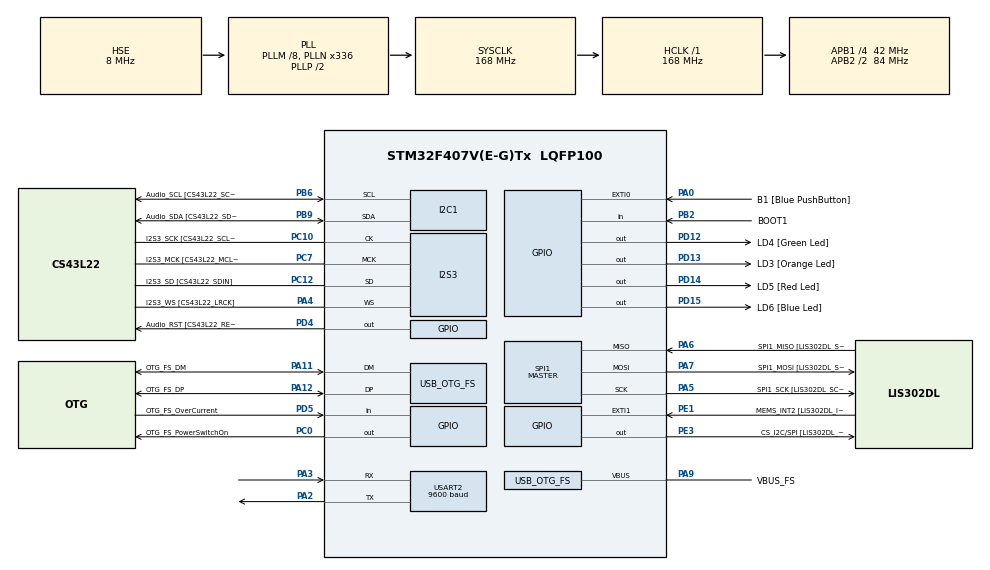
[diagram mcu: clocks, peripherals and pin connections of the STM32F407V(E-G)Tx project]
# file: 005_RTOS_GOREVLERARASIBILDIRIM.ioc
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FREERTOS.Tasks01=defaultTask,0,128,StartDefaultTask,Default,NULL,Dynamic,NULL,NULL
I2S3.AudioFreq-Half_Duplex_Master=I2S_AUDIOFREQ_96K
I2S3.ErrorAudioFreq=-2.34 %
I2S3.ErrorAudioFreq-Half_Duplex_Master=0.8 %
I2S3.FullDuplexMode=I2S_FULLDUPLEXMODE_DISABLE
I2S3.Instance=SPI$Index
I2S3.RealAudioFreq=93.75 KHz
I2S3.RealAudioFreq-Half_Duplex_Master=96.774 KHz
I2S3.VirtualMode=I2S_MODE_MASTER
Mcu.Family=STM32F4
Mcu.Name=STM32F407V(E-G)Tx
Mcu.Package=LQFP100
NVIC.OTG_FS_IRQn=true\:5\:0\:false\:false\:true\:true\:true\:true\:true
NVIC.PriorityGroup=NVIC_PRIORITYGROUP_4
PA0-WKUP.GPIO_Label=B1 [Blue PushButton]
PA0-WKUP.GPIO_ModeDefaultEXTI=GPIO_MODE_EVT_RISING
PA0-WKUP.GPIO_PuPd=GPIO_NOPULL
PA0-WKUP.Signal=GPXTI0
PA10.GPIO_Label=OTG_FS_ID
PA10.GPIO_Mode=GPIO_MODE_AF_PP
PA10.GPIO_PuPd=GPIO_NOPULL
PA10.GPIO_Speed=GPIO_SPEED_FREQ_LOW
PA10.Signal=USB_OTG_FS_ID
PA11.GPIO_Label=OTG_FS_DM
PA11.GPIO_Mode=GPIO_MODE_AF_PP
PA11.GPIO_PuPd=GPIO_NOPULL
PA11.GPIO_Speed=GPIO_SPEED_FREQ_LOW
PA11.Mode=Host_Only
PA11.Signal=USB_OTG_FS_DM
PA12.GPIO_Label=OTG_FS_DP
PA12.GPIO_Mode=GPIO_MODE_AF_PP
PA12.GPIO_PuPd=GPIO_NOPULL
PA12.GPIO_Speed=GPIO_SPEED_FREQ_LOW
PA12.Mode=Host_Only
PA12.Signal=USB_OTG_FS_DP
PA13.GPIO_Label=SWDIO
PA13.Mode=Serial_Wire
PA13.Signal=SYS_JTMS-SWDIO
PA14.GPIO_Label=SWCLK
PA14.Mode=Serial_Wire
PA14.Signal=SYS_JTCK-SWCLK
PA2.Mode=Asynchronous
PA2.Signal=USART2_TX
PA3.Mode=Asynchronous
PA3.Signal=USART2_RX
PA4.GPIO_Label=I2S3_WS [CS43L22_LRCK]
PA4.GPIO_Mode=GPIO_MODE_AF_PP
PA4.GPIO_PuPd=GPIO_NOPULL
PA4.GPIO_Speed=GPIO_SPEED_FREQ_LOW
PA4.Mode=Half_Duplex_Master
PA4.Signal=I2S3_WS
PA5.GPIO_Label=SPI1_SCK [LIS302DL_SCL/SPC]
PA5.GPIO_Mode=GPIO_MODE_AF_PP
PA5.GPIO_PuPd=GPIO_NOPULL
PA5.GPIO_Speed=GPIO_SPEED_FREQ_LOW
PA5.Mode=Full_Duplex_Master
PA5.Signal=SPI1_SCK
PA6.GPIO_Label=SPI1_MISO [LIS302DL_SDO]
PA6.GPIO_Mode=GPIO_MODE_AF_PP
PA6.GPIO_PuPd=GPIO_NOPULL
PA6.GPIO_Speed=GPIO_SPEED_FREQ_LOW
PA6.Mode=Full_Duplex_Master
PA6.Signal=SPI1_MISO
PA7.GPIO_Label=SPI1_MOSI [LIS302DL_SDA/SDI/SDO]
PA7.GPIO_Mode=GPIO_MODE_AF_PP
PA7.GPIO_PuPd=GPIO_NOPULL
PA7.GPIO_Speed=GPIO_SPEED_FREQ_LOW
PA7.Mode=Full_Duplex_Master
PA7.Signal=SPI1_MOSI
PA9.GPIO_Label=VBUS_FS
PA9.GPIO_Mode=GPIO_MODE_INPUT
PA9.GPIO_PuPd=GPIO_NOPULL
PA9.Mode=Activate_VBUS
PA9.Signal=USB_OTG_FS_VBUS
PB10.GPIO_Label=CLK_IN [MP45DT02_CLK]
PB10.GPIO_Mode=GPIO_MODE_AF_PP
PB10.GPIO_PuPd=GPIO_NOPULL
PB10.GPIO_Speed=GPIO_SPEED_FREQ_LOW
PB10.Signal=I2S2_CK
PB2.GPIO_Label=BOOT1
PB2.GPIO_Mode=GPIO_MODE_INPUT
PB2.GPIO_PuPd=GPIO_NOPULL
PB2.Signal=GPIO_Input
PB3.GPIO_Label=SWO
PB3.Signal=SYS_JTDO-SWO
PB6.GPIO_Label=Audio_SCL [CS43L22_SCL]
PB6.GPIO_Mode=GPIO_MODE_AF_OD
PB6.GPIO_Pu=GPIO_PULLUP
PB6.GPIO_PuPd=GPIO_NOPULL
PB6.GPIO_Speed=GPIO_SPEED_FREQ_LOW
PB6.Mode=I2C
PB6.Signal=I2C1_SCL
PB9.GPIO_Label=Audio_SDA [CS43L22_SDA]
PB9.GPIO_Mode=GPIO_MODE_AF_OD
PB9.GPIO_Pu=GPIO_PULLUP
PB9.GPIO_PuPd=GPIO_NOPULL
PB9.GPIO_Speed=GPIO_SPEED_FREQ_LOW
PB9.Mode=I2C
PB9.Signal=I2C1_SDA
PC0.GPIO_Label=OTG_FS_PowerSwitchOn
PC0.GPIO_PuPd=GPIO_NOPULL
PC0.GPIO_Speed=GPIO_SPEED_FREQ_LOW
PC0.PinState=GPIO_PIN_SET
PC0.Signal=GPIO_Output
PC10.GPIO_Label=I2S3_SCK [CS43L22_SCLK]
PC10.GPIO_Mode=GPIO_MODE_AF_PP
PC10.GPIO_PuPd=GPIO_NOPULL
PC10.GPIO_Speed=GPIO_SPEED_FREQ_LOW
PC10.Mode=Half_Duplex_Master
PC10.Signal=I2S3_CK
PC12.GPIO_Label=I2S3_SD [CS43L22_SDIN]
PC12.GPIO_Mode=GPIO_MODE_AF_PP
PC12.GPIO_PuPd=GPIO_NOPULL
PC12.GPIO_Speed=GPIO_SPEED_FREQ_LOW
PC12.Mode=Half_Duplex_Master
PC12.Signal=I2S3_SD
PC14-OSC32_IN.GPIO_Label=PC14-OSC32_IN
PC14-OSC32_IN.Mode=LSE-External-Oscillator
PC14-OSC32_IN.Signal=RCC_OSC32_IN
PC15-OSC32_OUT.GPIO_Label=PC15-OSC32_OUT
PC15-OSC32_OUT.Mode=LSE-External-Oscillator
PC15-OSC32_OUT.Signal=RCC_OSC32_OUT
PC3.GPIO_Label=PDM_OUT [MP45DT02_DOUT]
PC3.GPIO_Mode=GPIO_MODE_AF_PP
PC3.GPIO_PuPd=GPIO_NOPULL
PC3.GPIO_Speed=GPIO_SPEED_FREQ_LOW
PC3.Signal=I2S2_SD
PC7.GPIO_Label=I2S3_MCK [CS43L22_MCLK]
PC7.GPIO_Mode=GPIO_MODE_AF_PP
PC7.GPIO_PuPd=GPIO_NOPULL
PC7.GPIO_Speed=GPIO_SPEED_FREQ_LOW
PC7.Mode=Master_Clock_Activated
PC7.Signal=I2S3_MCK
PD12.GPIO_Label=LD4 [Green Led]
PD12.GPIO_PuPd=GPIO_NOPULL
PD12.GPIO_Speed=GPIO_SPEED_FREQ_LOW
PD12.Signal=GPIO_Output
PD13.GPIO_Label=LD3 [Orange Led]
PD13.GPIO_PuPd=GPIO_NOPULL
PD13.GPIO_Speed=GPIO_SPEED_FREQ_LOW
PD13.Signal=GPIO_Output
PD14.GPIO_Label=LD5 [Red Led]
PD14.GPIO_PuPd=GPIO_NOPULL
PD14.GPIO_Speed=GPIO_SPEED_FREQ_LOW
PD14.Signal=GPIO_Output
PD15.GPIO_Label=LD6 [Blue Led]
PD15.GPIO_PuPd=GPIO_NOPULL
PD15.GPIO_Speed=GPIO_SPEED_FREQ_LOW
PD15.Signal=GPIO_Output
PD4.GPIO_Label=Audio_RST [CS43L22_RESET]
PD4.GPIO_PuPd=GPIO_NOPULL
PD4.GPIO_Speed=GPIO_SPEED_FREQ_LOW
PD4.Signal=GPIO_Output
PD5.GPIO_Label=OTG_FS_OverCurrent
PD5.GPIO_Mode=GPIO_MODE_INPUT
PD5.GPIO_PuPd=GPIO_NOPULL
PD5.Signal=GPIO_Input
PE1.GPIO_Label=MEMS_INT2 [LIS302DL_INT2]
PE1.GPIO_ModeDefaultEXTI=GPIO_MODE_EVT_RISING
PE1.GPIO_PuPd=GPIO_NOPULL
PE1.Signal=GPXTI1
PE3.GPIO_Label=CS_I2C/SPI [LIS302DL_CS_I2C/SPI]
PE3.GPIO_PuPd=GPIO_NOPULL
PE3.GPIO_Speed=GPIO_SPEED_FREQ_LOW
PE3.Signal=GPIO_Output
PH0-OSC_IN.GPIO_Label=PH0-OSC_IN
PH0-OSC_IN.Mode=HSE-External-Oscillator
PH0-OSC_IN.Signal=RCC_OSC_IN
PH1-OSC_OUT.GPIO_Label=PH1-OSC_OUT
PH1-OSC_OUT.Mode=HSE-External-Oscillator
PH1-OSC_OUT.Signal=RCC_OSC_OUT
ProjectManager.HeapSize=0x200
ProjectManager.StackSize=0x400
ProjectManager.TargetToolchain=STM32CubeIDE
RCC.48MHZClocksFreq_Value=48000000
RCC.AHBFreq_Value=168000000
RCC.APB1CLKDivider=RCC_HCLK_DIV4
RCC.APB1Freq_Value=42000000
RCC.APB1TimFreq_Value=84000000
RCC.APB2CLKDivider=RCC_HCLK_DIV2
RCC.APB2Freq_Value=84000000
RCC.APB2TimFreq_Value=168000000
RCC.CortexFreq_Value=168000000
RCC.HCLKFreq_Value=168000000
RCC.HSE_VALUE=8000000
RCC.HSI_VALUE=16000000
RCC.PLLM=8
RCC.PLLN=336
RCC.PLLQ=7
RCC.SYSCLKFreq_VALUE=168000000
RCC.SYSCLKSource=RCC_SYSCLKSOURCE_PLLCLK
RCC.VCOOutputFreq_Value=336000000
SPI1.BaudRatePrescaler-Full_Duplex_Master=SPI_BAUDRATEPRESCALER_2
SPI1.CalculateBaudRate-Full_Duplex_Master=42.0 MBits/s
SPI1.Direction=SPI_DIRECTION_2LINES
SPI1.Mode=SPI_MODE_MASTER
SPI1.Mode-Full_Duplex_Master=SPI_MODE_MASTER
SPI1.VirtualType=VM_MASTER
USART2.BaudRate=9600
USART2.VirtualMode=VM_ASYNC
USB_HOST.BSP.number=1
USB_HOST.USBH_HandleTypeDef-CDC_FS=hUsbHostFS
USB_HOST.USBH_USE_OS-CDC_FS=0
USB_HOST.VirtualModeFS=Cdc
USB_HOST0.BSP.STBoard=false
USB_HOST0.BSP.api=Unknown
USB_HOST0.BSP.i2caddr=0
USB_HOST0.BSP.i2creg=0
USB_HOST0.BSP.instance=PC0
USB_HOST0.BSP.ip=GPIO
USB_HOST0.BSP.mode=Output
USB_HOST0.BSP.name=Drive_VBUS_FS
USB_HOST0.BSP.solution=PC0
USB_OTG_FS.VirtualMode=Host_Only
USB_OTG_FS.phy_itface=HCD_PHY_EMBEDDED
VP_FREERTOS_VS_CMSIS_V1.Mode=CMSIS_V1
VP_USB_HOST_VS_USB_HOST_CDC_FS.Mode=CDC_FS
board=STM32F407G-DISC1

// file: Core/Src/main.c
/* USER CODE BEGIN Header */
/**
 ******************************************************************************
 * @file           : main.c
 * @brief          : Main program body
 ******************************************************************************
 * @attention
 *
 * Copyright (c) 2022 STMicroelectronics.
 * All rights reserved.
 *
 * This software is licensed under terms that can be found in the LICENSE file
 * in the root directory of this software component.
 * If no LICENSE file comes with this software, it is provided AS-IS.
 *
 ******************************************************************************
 */
/* USER CODE END Header */
#include "main.h"
#include "cmsis_os.h"
#include "usb_host.h"

/* USER CODE BEGIN Includes */

#include "stdio.h"

/* USER CODE END Includes */

/* USER CODE BEGIN PTD */
typedef enum
{
	false, true
}bool;

bool task_flag1 = true;
bool task_flag2 = false;

/* USER CODE END PTD */

 I2C_HandleTypeDef hi2c1;

I2S_HandleTypeDef hi2s3;

SPI_HandleTypeDef hspi1;

UART_HandleTypeDef huart2;

osThreadId defaultTaskHandle;
/* USER CODE BEGIN PV */

TaskHandle_t myTaskHandle1 = NULL;
TaskHandle_t myTaskHandle2 = NULL;

char buffer[30] = {0};

/* USER CODE END PV */

void SystemClock_Config(void);
static void MX_GPIO_Init(void);
static void MX_I2C1_Init(void);
static void MX_I2S3_Init(void);
static void MX_SPI1_Init(void);
static void MX_USART2_UART_Init(void);
void StartDefaultTask(void const * argument);

/* USER CODE BEGIN PFP */

void readButtonStateTask(void* param);
void ledFlashTask(void* param);

int write(int file, char *ptr, int len);

/* USER CODE END PFP */

/* USER CODE BEGIN 0 */

int write(int file, char *ptr, int len)
{

	for (int i = 0; i < len; i++)
	{
		ITM_SendChar((*ptr++));
	}
	return len;
}

/* USER CODE END 0 */

int main(void)
{
  /* USER CODE BEGIN 1 */
	DWT->CTRL |= ( 1 << 0 );
  /* USER CODE END 1 */

  /* MCU Configuration--------------------------------------------------------*/

  /* Reset of all peripherals, Initializes the Flash interface and the Systick. */
  HAL_Init();

  /* Configure the system clock */
  SystemClock_Config();
  //HAL_RCC_DeInit();

  /* Initialize all configured peripherals */
  MX_GPIO_Init();
  MX_I2C1_Init();
  MX_I2S3_Init();
  MX_SPI1_Init();
  MX_USART2_UART_Init();
  /* USER CODE BEGIN 2 */

	SEGGER_SYSVIEW_Conf();
	vSetVarulMaxPRIGROUPValuE();
	SEGGER_SYSVIEW_Start();

	printf("Starting RTOS Project. \n");

	xTaskCreate(ledFlashTask			,
				"Task1"					,
				configMINIMAL_STACK_SIZE,
				NULL					,
				4						,
				&myTaskHandle1			);

	xTaskCreate(readButtonStateTask		,
				"Task2"					,
				configMINIMAL_STACK_SIZE,
				NULL					,
				4						,
				&myTaskHandle2			);

	vTaskStartScheduler();

  /* USER CODE END 2 */

  /* Create the thread(s) */
  /* definition and creation of defaultTask */
  //osThreadDef(defaultTask, StartDefaultTask, osPriorityNormal, 0, 128);
  //defaultTaskHandle = osThreadCreate(osThread(defaultTask), NULL);

  /* Start scheduler */
  //osKernelStart();

  /* We should never get here as control is now taken by the scheduler */
  /* Infinite loop */
	while (1)
	{

	}
}

void SystemClock_Config(void)
{
  RCC_OscInitTypeDef RCC_OscInitStruct = {0};
  RCC_ClkInitTypeDef RCC_ClkInitStruct = {0};

  /** Configure the main internal regulator output voltage
  */
  __HAL_RCC_PWR_CLK_ENABLE();
  __HAL_PWR_VOLTAGESCALING_CONFIG(PWR_REGULATOR_VOLTAGE_SCALE1);

  /** Initializes the RCC Oscillators according to the specified parameters
  * in the RCC_OscInitTypeDef structure.
  */
  RCC_OscInitStruct.OscillatorType = RCC_OSCILLATORTYPE_HSE;
  RCC_OscInitStruct.HSEState = RCC_HSE_ON;
  RCC_OscInitStruct.PLL.PLLState = RCC_PLL_ON;
  RCC_OscInitStruct.PLL.PLLSource = RCC_PLLSOURCE_HSE;
  RCC_OscInitStruct.PLL.PLLM = 8;
  RCC_OscInitStruct.PLL.PLLN = 336;
  RCC_OscInitStruct.PLL.PLLP = RCC_PLLP_DIV2;
  RCC_OscInitStruct.PLL.PLLQ = 7;
  if (HAL_RCC_OscConfig(&RCC_OscInitStruct) != HAL_OK)
  {
    Error_Handler();
  }

  /** Initializes the CPU, AHB and APB buses clocks
  */
  RCC_ClkInitStruct.ClockType = RCC_CLOCKTYPE_HCLK|RCC_CLOCKTYPE_SYSCLK
                              |RCC_CLOCKTYPE_PCLK1|RCC_CLOCKTYPE_PCLK2;
  RCC_ClkInitStruct.SYSCLKSource = RCC_SYSCLKSOURCE_PLLCLK;
  RCC_ClkInitStruct.AHBCLKDivider = RCC_SYSCLK_DIV1;
  RCC_ClkInitStruct.APB1CLKDivider = RCC_HCLK_DIV4;
  RCC_ClkInitStruct.APB2CLKDivider = RCC_HCLK_DIV2;

  if (HAL_RCC_ClockConfig(&RCC_ClkInitStruct, FLASH_LATENCY_5) != HAL_OK)
  {
    Error_Handler();
  }
}

static void MX_I2C1_Init(void)
{

  hi2c1.Instance = I2C1;
  hi2c1.Init.ClockSpeed = 100000;
  hi2c1.Init.DutyCycle = I2C_DUTYCYCLE_2;
  hi2c1.Init.OwnAddress1 = 0;
  hi2c1.Init.AddressingMode = I2C_ADDRESSINGMODE_7BIT;
  hi2c1.Init.DualAddressMode = I2C_DUALADDRESS_DISABLE;
  hi2c1.Init.OwnAddress2 = 0;
  hi2c1.Init.GeneralCallMode = I2C_GENERALCALL_DISABLE;
  hi2c1.Init.NoStretchMode = I2C_NOSTRETCH_DISABLE;
  if (HAL_I2C_Init(&hi2c1) != HAL_OK)
  {
    Error_Handler();
  }

}

static void MX_I2S3_Init(void)
{

  hi2s3.Instance = SPI3;
  hi2s3.Init.Mode = I2S_MODE_MASTER_TX;
  hi2s3.Init.Standard = I2S_STANDARD_PHILIPS;
  hi2s3.Init.DataFormat = I2S_DATAFORMAT_16B;
  hi2s3.Init.MCLKOutput = I2S_MCLKOUTPUT_ENABLE;
  hi2s3.Init.AudioFreq = I2S_AUDIOFREQ_96K;
  hi2s3.Init.CPOL = I2S_CPOL_LOW;
  hi2s3.Init.ClockSource = I2S_CLOCK_PLL;
  hi2s3.Init.FullDuplexMode = I2S_FULLDUPLEXMODE_DISABLE;
  if (HAL_I2S_Init(&hi2s3) != HAL_OK)
  {
    Error_Handler();
  }

}

static void MX_SPI1_Init(void)
{

  /* SPI1 parameter configuration*/
  hspi1.Instance = SPI1;
  hspi1.Init.Mode = SPI_MODE_MASTER;
  hspi1.Init.Direction = SPI_DIRECTION_2LINES;
  hspi1.Init.DataSize = SPI_DATASIZE_8BIT;
  hspi1.Init.CLKPolarity = SPI_POLARITY_LOW;
  hspi1.Init.CLKPhase = SPI_PHASE_1EDGE;
  hspi1.Init.NSS = SPI_NSS_SOFT;
  hspi1.Init.BaudRatePrescaler = SPI_BAUDRATEPRESCALER_2;
  hspi1.Init.FirstBit = SPI_FIRSTBIT_MSB;
  hspi1.Init.TIMode = SPI_TIMODE_DISABLE;
  hspi1.Init.CRCCalculation = SPI_CRCCALCULATION_DISABLE;
  hspi1.Init.CRCPolynomial = 10;
  if (HAL_SPI_Init(&hspi1) != HAL_OK)
  {
    Error_Handler();
  }

}

static void MX_USART2_UART_Init(void)
{

  huart2.Instance = USART2;
  huart2.Init.BaudRate = 9600;
  huart2.Init.WordLength = UART_WORDLENGTH_8B;
  huart2.Init.StopBits = UART_STOPBITS_1;
  huart2.Init.Parity = UART_PARITY_NONE;
  huart2.Init.Mode = UART_MODE_TX_RX;
  huart2.Init.HwFlowCtl = UART_HWCONTROL_NONE;
  huart2.Init.OverSampling = UART_OVERSAMPLING_16;
  if (HAL_UART_Init(&huart2) != HAL_OK)
  {
    Error_Handler();
  }

}

static void MX_GPIO_Init(void)
{
  GPIO_InitTypeDef GPIO_InitStruct = {0};

  /* GPIO Ports Clock Enable */
  __HAL_RCC_GPIOE_CLK_ENABLE();
  __HAL_RCC_GPIOC_CLK_ENABLE();
  __HAL_RCC_GPIOH_CLK_ENABLE();
  __HAL_RCC_GPIOA_CLK_ENABLE();
  __HAL_RCC_GPIOB_CLK_ENABLE();
  __HAL_RCC_GPIOD_CLK_ENABLE();

  /*Configure GPIO pin Output Level */
  HAL_GPIO_WritePin(CS_I2C_SPI_GPIO_Port, CS_I2C_SPI_Pin, GPIO_PIN_RESET);

  /*Configure GPIO pin Output Level */
  HAL_GPIO_WritePin(OTG_FS_PowerSwitchOn_GPIO_Port, OTG_FS_PowerSwitchOn_Pin, GPIO_PIN_SET);

  /*Configure GPIO pin Output Level */
  HAL_GPIO_WritePin(GPIOD, LD4_Pin|LD3_Pin|LD5_Pin|LD6_Pin
                          |Audio_RST_Pin, GPIO_PIN_RESET);

  /*Configure GPIO pin : CS_I2C_SPI_Pin */
  GPIO_InitStruct.Pin = CS_I2C_SPI_Pin;
  GPIO_InitStruct.Mode = GPIO_MODE_OUTPUT_PP;
  GPIO_InitStruct.Pull = GPIO_NOPULL;
  GPIO_InitStruct.Speed = GPIO_SPEED_FREQ_LOW;
  HAL_GPIO_Init(CS_I2C_SPI_GPIO_Port, &GPIO_InitStruct);

  /*Configure GPIO pin : OTG_FS_PowerSwitchOn_Pin */
  GPIO_InitStruct.Pin = OTG_FS_PowerSwitchOn_Pin;
  GPIO_InitStruct.Mode = GPIO_MODE_OUTPUT_PP;
  GPIO_InitStruct.Pull = GPIO_NOPULL;
  GPIO_InitStruct.Speed = GPIO_SPEED_FREQ_LOW;
  HAL_GPIO_Init(OTG_FS_PowerSwitchOn_GPIO_Port, &GPIO_InitStruct);

  /*Configure GPIO pin : PDM_OUT_Pin */
  GPIO_InitStruct.Pin = PDM_OUT_Pin;
  GPIO_InitStruct.Mode = GPIO_MODE_AF_PP;
  GPIO_InitStruct.Pull = GPIO_NOPULL;
  GPIO_InitStruct.Speed = GPIO_SPEED_FREQ_LOW;
  GPIO_InitStruct.Alternate = GPIO_AF5_SPI2;
  HAL_GPIO_Init(PDM_OUT_GPIO_Port, &GPIO_InitStruct);

  /*Configure GPIO pin : B1_Pin */
  GPIO_InitStruct.Pin = B1_Pin;
  GPIO_InitStruct.Mode = GPIO_MODE_EVT_RISING;
  GPIO_InitStruct.Pull = GPIO_NOPULL;
  HAL_GPIO_Init(B1_GPIO_Port, &GPIO_InitStruct);

  /*Configure GPIO pin : BOOT1_Pin */
  GPIO_InitStruct.Pin = BOOT1_Pin;
  GPIO_InitStruct.Mode = GPIO_MODE_INPUT;
  GPIO_InitStruct.Pull = GPIO_NOPULL;
  HAL_GPIO_Init(BOOT1_GPIO_Port, &GPIO_InitStruct);

  /*Configure GPIO pin : CLK_IN_Pin */
  GPIO_InitStruct.Pin = CLK_IN_Pin;
  GPIO_InitStruct.Mode = GPIO_MODE_AF_PP;
  GPIO_InitStruct.Pull = GPIO_NOPULL;
  GPIO_InitStruct.Speed = GPIO_SPEED_FREQ_LOW;
  GPIO_InitStruct.Alternate = GPIO_AF5_SPI2;
  HAL_GPIO_Init(CLK_IN_GPIO_Port, &GPIO_InitStruct);

  /*Configure GPIO pins : LD4_Pin LD3_Pin LD5_Pin LD6_Pin
                           Audio_RST_Pin */
  GPIO_InitStruct.Pin = LD4_Pin|LD3_Pin|LD5_Pin|LD6_Pin
                          |Audio_RST_Pin;
  GPIO_InitStruct.Mode = GPIO_MODE_OUTPUT_PP;
  GPIO_InitStruct.Pull = GPIO_NOPULL;
  GPIO_InitStruct.Speed = GPIO_SPEED_FREQ_LOW;
  HAL_GPIO_Init(GPIOD, &GPIO_InitStruct);

  /*Configure GPIO pin : OTG_FS_OverCurrent_Pin */
  GPIO_InitStruct.Pin = OTG_FS_OverCurrent_Pin;
  GPIO_InitStruct.Mode = GPIO_MODE_INPUT;
  GPIO_InitStruct.Pull = GPIO_NOPULL;
  HAL_GPIO_Init(OTG_FS_OverCurrent_GPIO_Port, &GPIO_InitStruct);

  /*Configure GPIO pin : MEMS_INT2_Pin */
  GPIO_InitStruct.Pin = MEMS_INT2_Pin;
  GPIO_InitStruct.Mode = GPIO_MODE_EVT_RISING;
  GPIO_InitStruct.Pull = GPIO_NOPULL;
  HAL_GPIO_Init(MEMS_INT2_GPIO_Port, &GPIO_InitStruct);

}

/* USER CODE BEGIN 4 */

	void delay_FreeRTOS(uint32_t delayMS)
{
	uint32_t currentTick = xTaskGetTickCount();
	uint32_t delayTick 	 = pdMS_TO_TICKS(delayMS);

	while( xTaskGetTickCount() < ( currentTick + delayTick ) );
}

void readButtonStateTask(void *params) {
	while (1)
	{
		HAL_GPIO_TogglePin(GPIOD, GPIO_PIN_12);
		vTaskDelay(100);
		if(HAL_GPIO_ReadPin(GPIOA, GPIO_PIN_0))
		{
			delay_FreeRTOS(250);
			// eInc ile hedef gorevin degere 1 arttirilacak
			xTaskNotify(myTaskHandle1 , 0 , eIncrement);
		}

	}
}

void ledFlashTask(void *params) {

	uint32_t pulNotificationValue = 0 ;

	while (1)
	{
		if ( xTaskNotifyWait(0, 0, &pulNotificationValue, portMAX_DELAY) == pdTRUE )
		{

			HAL_GPIO_TogglePin(GPIOD, GPIO_PIN_13);
			HAL_GPIO_TogglePin(GPIOD, GPIO_PIN_14);
			HAL_GPIO_TogglePin(GPIOD, GPIO_PIN_15);
		}
		vTaskDelay(100);
	}
}

/*
void readButtonStateTask(void *params) {
	while (1)
	{

		if(true == task_flag1)
		{
			task_flag2 = false;
			sprintf(buffer, "Hello World From Task - 1 \n");
			HAL_GPIO_WritePin(GPIOD, GPIO_PIN_13, GPIO_PIN_SET);
			HAL_GPIO_WritePin(GPIOD, GPIO_PIN_14, GPIO_PIN_RESET);
			HAL_UART_Transmit(&huart2, buffer, sizeof(buffer), 100);
			task_flag2 = true;
			task_flag1 = false;
		}
	}

}

void ledFlashTask(void *params) {
	while (1)
	{
		if(true == task_flag2)
		{
			task_flag1 = false;
			sprintf(buffer,"Hello World From Task - 2 \n");
			HAL_GPIO_WritePin(GPIOD, GPIO_PIN_13, GPIO_PIN_RESET);
			HAL_GPIO_WritePin(GPIOD, GPIO_PIN_14, GPIO_PIN_SET);
			HAL_UART_Transmit(&huart2, buffer, sizeof(buffer), 100);
			task_flag1 = true;
			task_flag2 = false;
		}
	}
}
*/

/* USER CODE END 4 */

void StartDefaultTask(void const * argument)
{
  /* init code for USB_HOST */
  MX_USB_HOST_Init();
	for(;;)
	{
		osDelay(1);
	}
}

void Error_Handler(void)
{
	__disable_irq();
	while (1)
	{
	}
}
